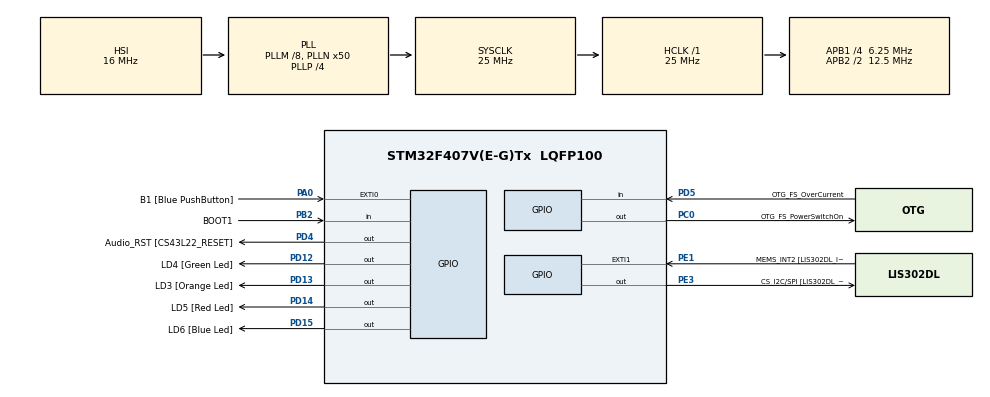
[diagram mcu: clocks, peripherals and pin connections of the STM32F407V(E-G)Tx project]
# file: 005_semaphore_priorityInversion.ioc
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Mcu.Family=STM32F4
Mcu.Name=STM32F407V(E-G)Tx
Mcu.Package=LQFP100
NVIC.PriorityGroup=NVIC_PRIORITYGROUP_4
NVIC.TIM6_DAC_IRQn=true\:0\:0\:false\:false\:true\:false\:true\:true
NVIC.TimeBase=TIM6_DAC_IRQn
NVIC.TimeBaseIP=TIM6
PA0-WKUP.GPIO_Label=B1 [Blue PushButton]
PA0-WKUP.Signal=GPXTI0
PA10.GPIO_Label=OTG_FS_ID
PA10.GPIO_Mode=GPIO_MODE_AF_PP
PA10.GPIO_PuPd=GPIO_NOPULL
PA10.GPIO_Speed=GPIO_SPEED_FREQ_LOW
PA10.Signal=USB_OTG_FS_ID
PA11.GPIO_Label=OTG_FS_DM
PA11.GPIO_Mode=GPIO_MODE_AF_PP
PA11.GPIO_PuPd=GPIO_NOPULL
PA11.GPIO_Speed=GPIO_SPEED_FREQ_LOW
PA11.Signal=USB_OTG_FS_DM
PA12.GPIO_Label=OTG_FS_DP
PA12.GPIO_Mode=GPIO_MODE_AF_PP
PA12.GPIO_PuPd=GPIO_NOPULL
PA12.GPIO_Speed=GPIO_SPEED_FREQ_LOW
PA12.Signal=USB_OTG_FS_DP
PA13.GPIO_Label=SWDIO
PA13.Signal=SYS_JTMS-SWDIO
PA14.GPIO_Label=SWCLK
PA14.Signal=SYS_JTCK-SWCLK
PA4.GPIO_Label=I2S3_WS [CS43L22_LRCK]
PA4.GPIO_Mode=GPIO_MODE_AF_PP
PA4.GPIO_PuPd=GPIO_NOPULL
PA4.GPIO_Speed=GPIO_SPEED_FREQ_LOW
PA4.Signal=I2S3_WS
PA5.GPIO_Label=SPI1_SCK [LIS302DL_SCL/SPC]
PA5.GPIO_Mode=GPIO_MODE_AF_PP
PA5.GPIO_PuPd=GPIO_NOPULL
PA5.GPIO_Speed=GPIO_SPEED_FREQ_LOW
PA5.Signal=SPI1_SCK
PA6.GPIO_Label=SPI1_MISO [LIS302DL_SDO]
PA6.GPIO_Mode=GPIO_MODE_AF_PP
PA6.GPIO_PuPd=GPIO_NOPULL
PA6.GPIO_Speed=GPIO_SPEED_FREQ_LOW
PA6.Signal=SPI1_MISO
PA7.GPIO_Label=SPI1_MOSI [LIS302DL_SDA/SDI/SDO]
PA7.GPIO_Mode=GPIO_MODE_AF_PP
PA7.GPIO_PuPd=GPIO_NOPULL
PA7.GPIO_Speed=GPIO_SPEED_FREQ_LOW
PA7.Signal=SPI1_MOSI
PA9.GPIO_Label=VBUS_FS
PA9.GPIO_Mode=GPIO_MODE_INPUT
PA9.GPIO_PuPd=GPIO_NOPULL
PA9.Signal=USB_OTG_FS_VBUS
PB10.GPIO_Label=CLK_IN [MP45DT02_CLK]
PB10.GPIO_Mode=GPIO_MODE_AF_PP
PB10.GPIO_PuPd=GPIO_NOPULL
PB10.GPIO_Speed=GPIO_SPEED_FREQ_LOW
PB10.Signal=I2S2_CK
PB2.GPIO_Label=BOOT1
PB2.GPIO_Mode=GPIO_MODE_INPUT
PB2.GPIO_PuPd=GPIO_NOPULL
PB2.Signal=GPIO_Input
PB3.GPIO_Label=SWO
PB3.Signal=SYS_JTDO-SWO
PB6.GPIO_Label=Audio_SCL [CS43L22_SCL]
PB6.GPIO_Mode=GPIO_MODE_AF_OD
PB6.GPIO_PuPd=GPIO_NOPULL
PB6.GPIO_Speed=GPIO_SPEED_FREQ_LOW
PB6.Signal=I2C1_SCL
PB9.GPIO_Label=Audio_SDA [CS43L22_SDA]
PB9.GPIO_Mode=GPIO_MODE_AF_OD
PB9.GPIO_PuPd=GPIO_NOPULL
PB9.GPIO_Speed=GPIO_SPEED_FREQ_LOW
PB9.Signal=I2C1_SDA
PC0.GPIO_Label=OTG_FS_PowerSwitchOn
PC0.GPIO_PuPd=GPIO_NOPULL
PC0.GPIO_Speed=GPIO_SPEED_FREQ_LOW
PC0.PinState=GPIO_PIN_SET
PC0.Signal=GPIO_Output
PC10.GPIO_Label=I2S3_SCK [CS43L22_SCLK]
PC10.GPIO_Mode=GPIO_MODE_AF_PP
PC10.GPIO_PuPd=GPIO_NOPULL
PC10.GPIO_Speed=GPIO_SPEED_FREQ_LOW
PC10.Signal=I2S3_CK
PC12.GPIO_Label=I2S3_SD [CS43L22_SDIN]
PC12.GPIO_Mode=GPIO_MODE_AF_PP
PC12.GPIO_PuPd=GPIO_NOPULL
PC12.GPIO_Speed=GPIO_SPEED_FREQ_LOW
PC12.Signal=I2S3_SD
PC14-OSC32_IN.GPIO_Label=PC14-OSC32_IN
PC14-OSC32_IN.Signal=RCC_OSC32_IN
PC15-OSC32_OUT.GPIO_Label=PC15-OSC32_OUT
PC15-OSC32_OUT.Signal=RCC_OSC32_OUT
PC3.GPIO_Label=PDM_OUT [MP45DT02_DOUT]
PC3.GPIO_Mode=GPIO_MODE_AF_PP
PC3.GPIO_PuPd=GPIO_NOPULL
PC3.GPIO_Speed=GPIO_SPEED_FREQ_LOW
PC3.Signal=I2S2_SD
PC7.GPIO_Label=I2S3_MCK [CS43L22_MCLK]
PC7.GPIO_Mode=GPIO_MODE_AF_PP
PC7.GPIO_PuPd=GPIO_NOPULL
PC7.GPIO_Speed=GPIO_SPEED_FREQ_LOW
PC7.Signal=I2S3_MCK
PD12.GPIO_Label=LD4 [Green Led]
PD12.GPIO_PuPd=GPIO_NOPULL
PD12.GPIO_Speed=GPIO_SPEED_FREQ_LOW
PD12.Signal=GPIO_Output
PD13.GPIO_Label=LD3 [Orange Led]
PD13.GPIO_PuPd=GPIO_NOPULL
PD13.GPIO_Speed=GPIO_SPEED_FREQ_LOW
PD13.Signal=GPIO_Output
PD14.GPIO_Label=LD5 [Red Led]
PD14.GPIO_PuPd=GPIO_NOPULL
PD14.GPIO_Speed=GPIO_SPEED_FREQ_LOW
PD14.Signal=GPIO_Output
PD15.GPIO_Label=LD6 [Blue Led]
PD15.GPIO_PuPd=GPIO_NOPULL
PD15.GPIO_Speed=GPIO_SPEED_FREQ_LOW
PD15.Signal=GPIO_Output
PD4.GPIO_Label=Audio_RST [CS43L22_RESET]
PD4.GPIO_PuPd=GPIO_NOPULL
PD4.GPIO_Speed=GPIO_SPEED_FREQ_LOW
PD4.Signal=GPIO_Output
PD5.GPIO_Label=OTG_FS_OverCurrent
PD5.GPIO_Mode=GPIO_MODE_INPUT
PD5.GPIO_PuPd=GPIO_NOPULL
PD5.Signal=GPIO_Input
PE1.GPIO_Label=MEMS_INT2 [LIS302DL_INT2]
PE1.GPIO_ModeDefaultEXTI=GPIO_MODE_EVT_RISING
PE1.GPIO_PuPd=GPIO_NOPULL
PE1.Signal=GPXTI1
PE3.GPIO_Label=CS_I2C/SPI [LIS302DL_CS_I2C/SPI]
PE3.GPIO_PuPd=GPIO_NOPULL
PE3.GPIO_Speed=GPIO_SPEED_FREQ_LOW
PE3.Signal=GPIO_Output
PH0-OSC_IN.GPIO_Label=PH0-OSC_IN
PH0-OSC_IN.Signal=RCC_OSC_IN
PH1-OSC_OUT.GPIO_Label=PH1-OSC_OUT
PH1-OSC_OUT.Signal=RCC_OSC_OUT
ProjectManager.HeapSize=0x200
ProjectManager.StackSize=0x400
ProjectManager.TargetToolchain=STM32CubeIDE
RCC.48MHZClocksFreq_Value=14285714.285714285
RCC.AHBFreq_Value=25000000
RCC.APB1CLKDivider=RCC_HCLK_DIV4
RCC.APB1Freq_Value=6250000
RCC.APB1TimFreq_Value=12500000
RCC.APB2CLKDivider=RCC_HCLK_DIV2
RCC.APB2Freq_Value=12500000
RCC.APB2TimFreq_Value=25000000
RCC.CortexFreq_Value=25000000
RCC.HCLKFreq_Value=25000000
RCC.HSE_VALUE=8000000
RCC.HSI_VALUE=16000000
RCC.LSE_VALUE=32768
RCC.PLLM=8
RCC.PLLN=50
RCC.PLLP=RCC_PLLP_DIV4
RCC.PLLQ=7
RCC.SYSCLKFreq_VALUE=25000000
RCC.SYSCLKSource=RCC_SYSCLKSOURCE_PLLCLK
RCC.VCOOutputFreq_Value=100000000
VP_SYS_VS_tim6.Mode=TIM6
board=STM32F407G-DISC1

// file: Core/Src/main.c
/* USER CODE BEGIN Header */
/**
  ******************************************************************************
  * @file           : main.c
  * @brief          : Main program body
  ******************************************************************************
  * @attention
  *
  * Copyright (c) 2026 STMicroelectronics.
  * All rights reserved.
  *
  * This software is licensed under terms that can be found in the LICENSE file
  * in the root directory of this software component.
  * If no LICENSE file comes with this software, it is provided AS-IS.
  *
  ******************************************************************************
  */
/* USER CODE END Header */
#include "main.h"

/* USER CODE BEGIN Includes */
#include "FreeRTOS.h"
#include "task.h"
#include "semphr.h"
#include <stdlib.h>
#include <stdio.h>

/* USER CODE END Includes */

/* USER CODE BEGIN PV */
SemaphoreHandle_t semPtr;
/* USER CODE END PV */

void SystemClock_Config(void);
static void MX_GPIO_Init(void);
/* USER CODE BEGIN PFP */
void TaskA(void *param);
void TaskB(void *param);
void TaskC(void *param);
void TaskD(void *param);
/* USER CODE END PFP */

// 1. Define the "Class" structure
typedef struct {
    void (*on)(void);
    void (*off)(void);
} Led_t;

// 2. Wrap the hardware calls
void red_on_raw()   { HAL_GPIO_WritePin(GPIOD, GPIO_PIN_14, GPIO_PIN_SET); }
void red_off_raw()  { HAL_GPIO_WritePin(GPIOD, GPIO_PIN_14, GPIO_PIN_RESET); }
void green_on_raw() { HAL_GPIO_WritePin(GPIOD, GPIO_PIN_12, GPIO_PIN_SET); }
void green_off_raw(){ HAL_GPIO_WritePin(GPIOD, GPIO_PIN_12, GPIO_PIN_RESET); }
void blue_on_raw()  { HAL_GPIO_WritePin(GPIOD, GPIO_PIN_15, GPIO_PIN_SET); }
void blue_off_raw() { HAL_GPIO_WritePin(GPIOD, GPIO_PIN_15, GPIO_PIN_RESET); }

// 3. Instantiate the "Objects"
Led_t RedLed   = { .on = red_on_raw,   .off = red_off_raw };
Led_t GreenLed = { .on = green_on_raw, .off = green_off_raw };
Led_t BlueLed  = { .on = blue_on_raw,  .off = blue_off_raw };

/* USER CODE END 0 */

int main(void)
{

  /* MCU Configuration--------------------------------------------------------*/

  /* Reset of all peripherals, Initializes the Flash interface and the Systick. */
  HAL_Init();

  /* Configure the system clock */
  SystemClock_Config();

  /* Initialize all configured peripherals */
  MX_GPIO_Init();
  /* USER CODE BEGIN 2 */

  BaseType_t status;
  semPtr = xSemaphoreCreateBinary();
  xSemaphoreGive(semPtr);   // ← VERY IMPORTANT
  status = xTaskCreate(TaskA, "Task-A", 512, "Task-A", 4, NULL);
  configASSERT(status == pdPASS);

  status = xTaskCreate(TaskB, "Task-B", 512, "Task-B", 3, NULL);
  configASSERT(status == pdPASS);

  status = xTaskCreate(TaskC, "Task-C", 512, "Task-C", 2, NULL);
  configASSERT(status == pdPASS);

  vTaskStartScheduler();

  /* USER CODE END 2 */

  /* Infinite loop */
  while (1)
  {

  }
}

void SystemClock_Config(void)
{
  RCC_OscInitTypeDef RCC_OscInitStruct = {0};
  RCC_ClkInitTypeDef RCC_ClkInitStruct = {0};

  /** Configure the main internal regulator output voltage
  */
  __HAL_RCC_PWR_CLK_ENABLE();
  __HAL_PWR_VOLTAGESCALING_CONFIG(PWR_REGULATOR_VOLTAGE_SCALE1);

  /** Initializes the RCC Oscillators according to the specified parameters
  * in the RCC_OscInitTypeDef structure.
  */
  RCC_OscInitStruct.OscillatorType = RCC_OSCILLATORTYPE_HSI;
  RCC_OscInitStruct.HSIState = RCC_HSI_ON;
  RCC_OscInitStruct.HSICalibrationValue = RCC_HSICALIBRATION_DEFAULT;
  RCC_OscInitStruct.PLL.PLLState = RCC_PLL_ON;
  RCC_OscInitStruct.PLL.PLLSource = RCC_PLLSOURCE_HSI;
  RCC_OscInitStruct.PLL.PLLM = 8;
  RCC_OscInitStruct.PLL.PLLN = 50;
  RCC_OscInitStruct.PLL.PLLP = RCC_PLLP_DIV4;
  RCC_OscInitStruct.PLL.PLLQ = 7;
  if (HAL_RCC_OscConfig(&RCC_OscInitStruct) != HAL_OK)
  {
    Error_Handler();
  }

  /** Initializes the CPU, AHB and APB buses clocks
  */
  RCC_ClkInitStruct.ClockType = RCC_CLOCKTYPE_HCLK|RCC_CLOCKTYPE_SYSCLK
                              |RCC_CLOCKTYPE_PCLK1|RCC_CLOCKTYPE_PCLK2;
  RCC_ClkInitStruct.SYSCLKSource = RCC_SYSCLKSOURCE_PLLCLK;
  RCC_ClkInitStruct.AHBCLKDivider = RCC_SYSCLK_DIV1;
  RCC_ClkInitStruct.APB1CLKDivider = RCC_HCLK_DIV4;
  RCC_ClkInitStruct.APB2CLKDivider = RCC_HCLK_DIV2;

  if (HAL_RCC_ClockConfig(&RCC_ClkInitStruct, FLASH_LATENCY_0) != HAL_OK)
  {
    Error_Handler();
  }
}

static void MX_GPIO_Init(void)
{
  GPIO_InitTypeDef GPIO_InitStruct = {0};

  /* GPIO Ports Clock Enable */
  __HAL_RCC_GPIOE_CLK_ENABLE();
  __HAL_RCC_GPIOC_CLK_ENABLE();
  __HAL_RCC_GPIOH_CLK_ENABLE();
  __HAL_RCC_GPIOA_CLK_ENABLE();
  __HAL_RCC_GPIOB_CLK_ENABLE();
  __HAL_RCC_GPIOD_CLK_ENABLE();

  /*Configure GPIO pin Output Level */
  HAL_GPIO_WritePin(CS_I2C_SPI_GPIO_Port, CS_I2C_SPI_Pin, GPIO_PIN_RESET);

  /*Configure GPIO pin Output Level */
  HAL_GPIO_WritePin(OTG_FS_PowerSwitchOn_GPIO_Port, OTG_FS_PowerSwitchOn_Pin, GPIO_PIN_SET);

  /*Configure GPIO pin Output Level */
  HAL_GPIO_WritePin(GPIOD, LD4_Pin|LD3_Pin|LD5_Pin|LD6_Pin
                          |Audio_RST_Pin, GPIO_PIN_RESET);

  /*Configure GPIO pin : CS_I2C_SPI_Pin */
  GPIO_InitStruct.Pin = CS_I2C_SPI_Pin;
  GPIO_InitStruct.Mode = GPIO_MODE_OUTPUT_PP;
  GPIO_InitStruct.Pull = GPIO_NOPULL;
  GPIO_InitStruct.Speed = GPIO_SPEED_FREQ_LOW;
  HAL_GPIO_Init(CS_I2C_SPI_GPIO_Port, &GPIO_InitStruct);

  /*Configure GPIO pin : OTG_FS_PowerSwitchOn_Pin */
  GPIO_InitStruct.Pin = OTG_FS_PowerSwitchOn_Pin;
  GPIO_InitStruct.Mode = GPIO_MODE_OUTPUT_PP;
  GPIO_InitStruct.Pull = GPIO_NOPULL;
  GPIO_InitStruct.Speed = GPIO_SPEED_FREQ_LOW;
  HAL_GPIO_Init(OTG_FS_PowerSwitchOn_GPIO_Port, &GPIO_InitStruct);

  /*Configure GPIO pin : PDM_OUT_Pin */
  GPIO_InitStruct.Pin = PDM_OUT_Pin;
  GPIO_InitStruct.Mode = GPIO_MODE_AF_PP;
  GPIO_InitStruct.Pull = GPIO_NOPULL;
  GPIO_InitStruct.Speed = GPIO_SPEED_FREQ_LOW;
  GPIO_InitStruct.Alternate = GPIO_AF5_SPI2;
  HAL_GPIO_Init(PDM_OUT_GPIO_Port, &GPIO_InitStruct);

  /*Configure GPIO pin : B1_Pin */
  GPIO_InitStruct.Pin = B1_Pin;
  GPIO_InitStruct.Mode = GPIO_MODE_IT_RISING;
  GPIO_InitStruct.Pull = GPIO_NOPULL;
  HAL_GPIO_Init(B1_GPIO_Port, &GPIO_InitStruct);

  /*Configure GPIO pin : I2S3_WS_Pin */
  GPIO_InitStruct.Pin = I2S3_WS_Pin;
  GPIO_InitStruct.Mode = GPIO_MODE_AF_PP;
  GPIO_InitStruct.Pull = GPIO_NOPULL;
  GPIO_InitStruct.Speed = GPIO_SPEED_FREQ_LOW;
  GPIO_InitStruct.Alternate = GPIO_AF6_SPI3;
  HAL_GPIO_Init(I2S3_WS_GPIO_Port, &GPIO_InitStruct);

  /*Configure GPIO pins : SPI1_SCK_Pin SPI1_MISO_Pin SPI1_MOSI_Pin */
  GPIO_InitStruct.Pin = SPI1_SCK_Pin|SPI1_MISO_Pin|SPI1_MOSI_Pin;
  GPIO_InitStruct.Mode = GPIO_MODE_AF_PP;
  GPIO_InitStruct.Pull = GPIO_NOPULL;
  GPIO_InitStruct.Speed = GPIO_SPEED_FREQ_LOW;
  GPIO_InitStruct.Alternate = GPIO_AF5_SPI1;
  HAL_GPIO_Init(GPIOA, &GPIO_InitStruct);

  /*Configure GPIO pin : BOOT1_Pin */
  GPIO_InitStruct.Pin = BOOT1_Pin;
  GPIO_InitStruct.Mode = GPIO_MODE_INPUT;
  GPIO_InitStruct.Pull = GPIO_NOPULL;
  HAL_GPIO_Init(BOOT1_GPIO_Port, &GPIO_InitStruct);

  /*Configure GPIO pin : CLK_IN_Pin */
  GPIO_InitStruct.Pin = CLK_IN_Pin;
  GPIO_InitStruct.Mode = GPIO_MODE_AF_PP;
  GPIO_InitStruct.Pull = GPIO_NOPULL;
  GPIO_InitStruct.Speed = GPIO_SPEED_FREQ_LOW;
  GPIO_InitStruct.Alternate = GPIO_AF5_SPI2;
  HAL_GPIO_Init(CLK_IN_GPIO_Port, &GPIO_InitStruct);

  /*Configure GPIO pins : LD4_Pin LD3_Pin LD5_Pin LD6_Pin
                           Audio_RST_Pin */
  GPIO_InitStruct.Pin = LD4_Pin|LD3_Pin|LD5_Pin|LD6_Pin
                          |Audio_RST_Pin;
  GPIO_InitStruct.Mode = GPIO_MODE_OUTPUT_PP;
  GPIO_InitStruct.Pull = GPIO_NOPULL;
  GPIO_InitStruct.Speed = GPIO_SPEED_FREQ_LOW;
  HAL_GPIO_Init(GPIOD, &GPIO_InitStruct);

  /*Configure GPIO pins : I2S3_MCK_Pin I2S3_SCK_Pin I2S3_SD_Pin */
  GPIO_InitStruct.Pin = I2S3_MCK_Pin|I2S3_SCK_Pin|I2S3_SD_Pin;
  GPIO_InitStruct.Mode = GPIO_MODE_AF_PP;
  GPIO_InitStruct.Pull = GPIO_NOPULL;
  GPIO_InitStruct.Speed = GPIO_SPEED_FREQ_LOW;
  GPIO_InitStruct.Alternate = GPIO_AF6_SPI3;
  HAL_GPIO_Init(GPIOC, &GPIO_InitStruct);

  /*Configure GPIO pin : VBUS_FS_Pin */
  GPIO_InitStruct.Pin = VBUS_FS_Pin;
  GPIO_InitStruct.Mode = GPIO_MODE_INPUT;
  GPIO_InitStruct.Pull = GPIO_NOPULL;
  HAL_GPIO_Init(VBUS_FS_GPIO_Port, &GPIO_InitStruct);

  /*Configure GPIO pins : OTG_FS_ID_Pin OTG_FS_DM_Pin OTG_FS_DP_Pin */
  GPIO_InitStruct.Pin = OTG_FS_ID_Pin|OTG_FS_DM_Pin|OTG_FS_DP_Pin;
  GPIO_InitStruct.Mode = GPIO_MODE_AF_PP;
  GPIO_InitStruct.Pull = GPIO_NOPULL;
  GPIO_InitStruct.Speed = GPIO_SPEED_FREQ_LOW;
  GPIO_InitStruct.Alternate = GPIO_AF10_OTG_FS;
  HAL_GPIO_Init(GPIOA, &GPIO_InitStruct);

  /*Configure GPIO pin : OTG_FS_OverCurrent_Pin */
  GPIO_InitStruct.Pin = OTG_FS_OverCurrent_Pin;
  GPIO_InitStruct.Mode = GPIO_MODE_INPUT;
  GPIO_InitStruct.Pull = GPIO_NOPULL;
  HAL_GPIO_Init(OTG_FS_OverCurrent_GPIO_Port, &GPIO_InitStruct);

  /*Configure GPIO pins : Audio_SCL_Pin Audio_SDA_Pin */
  GPIO_InitStruct.Pin = Audio_SCL_Pin|Audio_SDA_Pin;
  GPIO_InitStruct.Mode = GPIO_MODE_AF_OD;
  GPIO_InitStruct.Pull = GPIO_NOPULL;
  GPIO_InitStruct.Speed = GPIO_SPEED_FREQ_LOW;
  GPIO_InitStruct.Alternate = GPIO_AF4_I2C1;
  HAL_GPIO_Init(GPIOB, &GPIO_InitStruct);

  /*Configure GPIO pin : MEMS_INT2_Pin */
  GPIO_InitStruct.Pin = MEMS_INT2_Pin;
  GPIO_InitStruct.Mode = GPIO_MODE_EVT_RISING;
  GPIO_InitStruct.Pull = GPIO_NOPULL;
  HAL_GPIO_Init(MEMS_INT2_GPIO_Port, &GPIO_InitStruct);

}

/* USER CODE BEGIN 4 */
void lookBusy(uint32_t iterations) {
    volatile uint32_t i;
    for (i = 0; i < iterations; i++) {
        __NOP(); // Assembly "No Operation" to prevent compiler optimization
    }
}

uint32_t StmRand(uint32_t min, uint32_t max) {
    // Simple pseudo-random logic
    return (rand() % (max - min + 1)) + min;
}

void blinkTwice(Led_t* led) {
    for (int i = 0; i < 2; i++) {
        led->on();
        vTaskDelay(pdMS_TO_TICKS(1000));
        led->off();
        vTaskDelay(pdMS_TO_TICKS(1000));
    }
}
// Task A - High priority
void TaskA(void *param) {
    while(1) {
        // Use the function pointer syntax: RedLed.off()
        if(xSemaphoreTake(semPtr, pdMS_TO_TICKS(100))) {
            RedLed.off();
            blinkTwice(&GreenLed);
            xSemaphoreGive(semPtr);
        } else {
            GreenLed.on();
        }
        vTaskDelay(pdMS_TO_TICKS(StmRand(500, 1000)));
    }
}

// Task B - Medium priority
void TaskB(void *param) {
    uint32_t counter = 0;
    while(1) {
        printf("starting iteration \r\n");
        vTaskDelay(pdMS_TO_TICKS(StmRand(75, 150)));

        // This simulates a heavy calculation that doesn't yield the CPU
        lookBusy(StmRand(100, 500));
    }
}

// Task C - Low priority
void TaskC(void *param) {
    while(1) {
    	printf("starting iteration\r\n");
        if(xSemaphoreTake(semPtr, pdMS_TO_TICKS(1000)) == pdPASS) {
            RedLed.off(); // Logic: Turn off Red when we have the resource
            printf("received semPtr\r\n");
            blinkTwice(&BlueLed);
            xSemaphoreGive(semPtr);
        } else {
            printf("FAILED to receive semphr in time\r\n");
            RedLed.on(); // Logic: Turn on Red if we timed out
        }
    }
}
/* USER CODE END 4 */

void HAL_TIM_PeriodElapsedCallback(TIM_HandleTypeDef *htim)
{
  if (htim->Instance == TIM6)
  {
    HAL_IncTick();
  }
}

void Error_Handler(void)
{
  __disable_irq();
  while (1)
  {
  }
}
